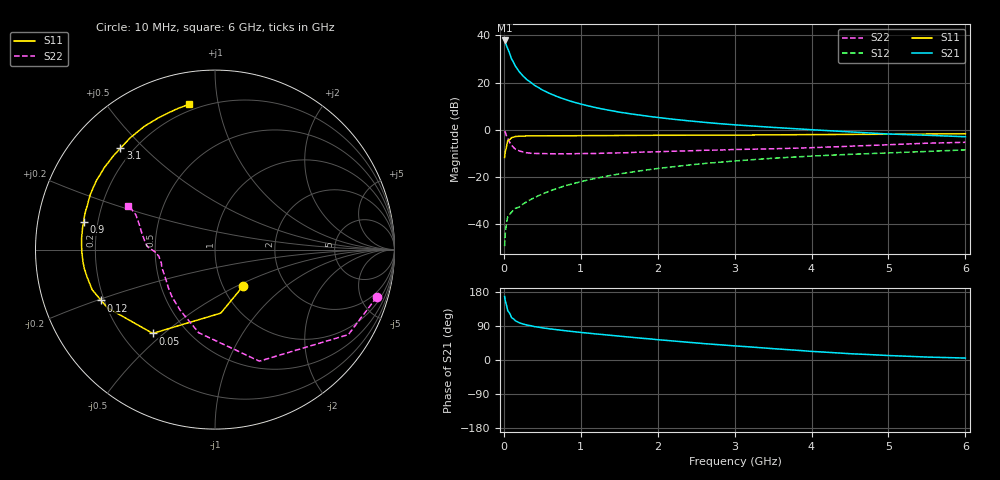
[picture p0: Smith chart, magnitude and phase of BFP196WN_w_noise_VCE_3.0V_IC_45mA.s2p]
! Infineon Technologies  Discrete & RF Semiconductors
! BFP196WN
! VCE =  3.0 V,  IC =  45 mA
! Common Emitter S-Parameters:  Jan 2017
# GHz  S  MA  R  50
!  f  S11  S21  S12  S22
! GHz  MAG  ANG  MAG  ANG  MAG  ANG  MAG  ANG
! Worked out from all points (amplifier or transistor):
!   77 points, 10 MHz to 6 GHz, reference 50 ohm
!   highest |S21| = 37.9 dB at 10 MHz (marker M1)
!   |S21| within 3 dB of that: start of sweep to 44.2 MHz
!   unconditionally stable (mu >= 1): 643.9 MHz to 2.735 GHz
!   at 130 MHz: K = 0.53, MSG = 31.1 dB, |S12| = -33.9 dB
!   at 2.2 GHz: K = 1.02, MAG = 9.2 dB, |S12| = -15.7 dB
!   at 6 GHz: K = 0.92, MSG = 2.8 dB, |S12| = -8.5 dB
!   lowest NFmin = 1.22 dB at 450 MHz
!   S11 on the Smith chart (normalised r, x): 10 MHz: 1.24, -0.54; 50 MHz: 0.33, -0.46; 120 MHz: 0.19, -0.21; 900 MHz: 0.15, +0.10; 3.1 GHz: 0.15, +0.43; 6 GHz: 0.16, +0.82
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0.01  0.2574 -52.9  78.39 167.7  0.0034 82.1  0.9385 -16.4
0.02  0.3553 -84.8  71.36 155.1  0.0067 72.4  0.8813 -32.5
0.05  0.5816 -126.6  52.72 130.2  0.0143 52.8  0.669 -68.3
0.1  0.6815 -151.6  31.88 111.9  0.0179 46.4  0.4719 -101.1
0.12  0.6942 -155.9  28.02 109.2  0.0194 46.8  0.4335 -107.7
0.15  0.72 -161.9  22.4 103.5  0.0216 47.3  0.3894 -119.9
0.2  0.7288 -167.9  17.07 98.4  0.023 51.5  0.3566 -132.0
0.25  0.7356 -171.7  13.78 94.9  0.0267 54.0  0.3377 -139.8
0.3  0.7388 -174.7  11.56 92.3  0.0298 56.7  0.3246 -146.1
0.4  0.7423 -179.2  8.735 88.1  0.0366 61.3  0.315 -153.8
0.5  0.7439 177.7  7 84.9  0.0434 63.7  0.3126 -159.2
0.6  0.7461 174.9  5.851 82.1  0.0506 64.9  0.311 -163.0
0.7  0.7461 172.7  5.009 79.7  0.0577 66.9  0.3083 -165.7
0.8  0.7481 170.4  4.388 77.2  0.0652 67.5  0.3094 -167.6
0.9  0.7477 168.3  3.897 74.9  0.072 67.3  0.3108 -169.4
1.1  0.7516 164.5  3.202 70.8  0.0869 67.7  0.314 -172.3
1.5  0.7568 157.7  2.371 63.0  0.1155 66.1  0.3235 -176.2
2.1  0.7642 148.2  1.749 52.0  0.1576 62.4  0.3467 -179.3
3.1  0.7723 133.1  1.242 35.9  0.224 54.3  0.3842 175.7
4.1  0.792 118.8  0.983 21.6  0.2815 45.8  0.4229 166.1
5.1  0.8061 108.0  0.804 11.0  0.3279 38.1  0.489 155.8
6  0.8223 100.1  0.711 5.1  0.3747 32.1  0.5423 153.4
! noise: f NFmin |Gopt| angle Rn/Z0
0.45  1.22  0.52  -178  0.05
0.9  1.34  0.55  -172  0.05
1.9  2.26  0.68  -148  0.14
2.4  2.99  0.69  -141  0.27
